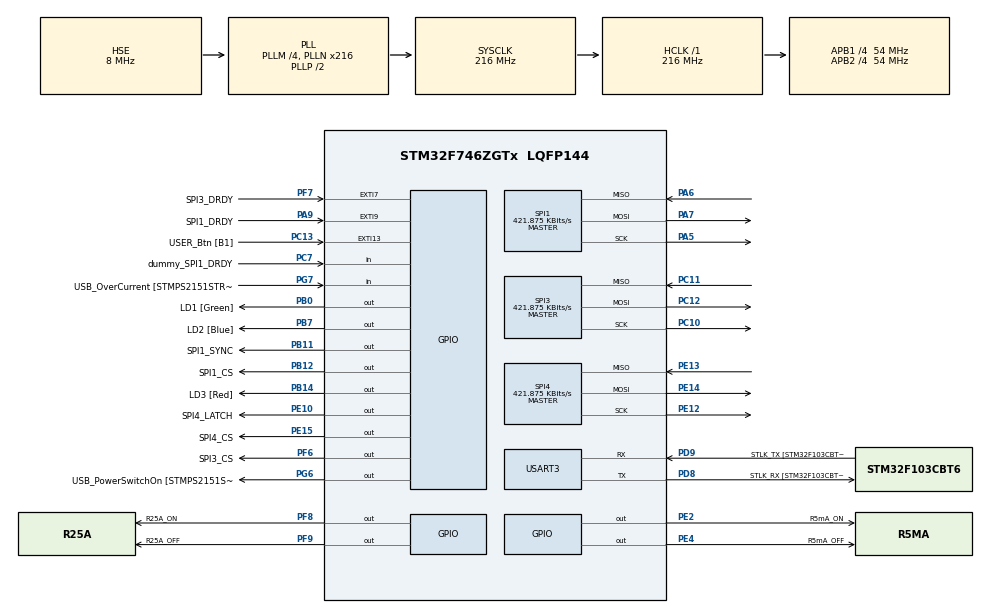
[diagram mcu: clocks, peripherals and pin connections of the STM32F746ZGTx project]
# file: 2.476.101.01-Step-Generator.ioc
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Dma.Request0=SPI1_RX
Dma.Request1=SPI1_TX
Dma.Request2=SPI3_RX
Dma.Request3=SPI3_TX
Dma.Request4=SPI4_TX
Dma.SPI1_RX.0.Direction=DMA_PERIPH_TO_MEMORY
Dma.SPI1_RX.0.FIFOMode=DMA_FIFOMODE_ENABLE
Dma.SPI1_RX.0.FIFOThreshold=DMA_FIFO_THRESHOLD_FULL
Dma.SPI1_RX.0.Instance=DMA2_Stream2
Dma.SPI1_RX.0.MemBurst=DMA_MBURST_SINGLE
Dma.SPI1_RX.0.MemDataAlignment=DMA_MDATAALIGN_BYTE
Dma.SPI1_RX.0.MemInc=DMA_MINC_ENABLE
Dma.SPI1_RX.0.Mode=DMA_NORMAL
Dma.SPI1_RX.0.PeriphBurst=DMA_PBURST_SINGLE
Dma.SPI1_RX.0.PeriphDataAlignment=DMA_PDATAALIGN_BYTE
Dma.SPI1_RX.0.PeriphInc=DMA_PINC_DISABLE
Dma.SPI1_RX.0.Priority=DMA_PRIORITY_VERY_HIGH
Dma.SPI1_TX.1.Direction=DMA_MEMORY_TO_PERIPH
Dma.SPI1_TX.1.FIFOMode=DMA_FIFOMODE_ENABLE
Dma.SPI1_TX.1.FIFOThreshold=DMA_FIFO_THRESHOLD_FULL
Dma.SPI1_TX.1.Instance=DMA2_Stream5
Dma.SPI1_TX.1.MemBurst=DMA_MBURST_SINGLE
Dma.SPI1_TX.1.MemDataAlignment=DMA_MDATAALIGN_BYTE
Dma.SPI1_TX.1.MemInc=DMA_MINC_ENABLE
Dma.SPI1_TX.1.Mode=DMA_NORMAL
Dma.SPI1_TX.1.PeriphBurst=DMA_PBURST_SINGLE
Dma.SPI1_TX.1.PeriphDataAlignment=DMA_PDATAALIGN_BYTE
Dma.SPI1_TX.1.PeriphInc=DMA_PINC_DISABLE
Dma.SPI1_TX.1.Priority=DMA_PRIORITY_VERY_HIGH
Dma.SPI3_RX.2.Direction=DMA_PERIPH_TO_MEMORY
Dma.SPI3_RX.2.FIFOMode=DMA_FIFOMODE_ENABLE
Dma.SPI3_RX.2.FIFOThreshold=DMA_FIFO_THRESHOLD_FULL
Dma.SPI3_RX.2.Instance=DMA1_Stream0
Dma.SPI3_RX.2.MemBurst=DMA_MBURST_SINGLE
Dma.SPI3_RX.2.MemDataAlignment=DMA_MDATAALIGN_BYTE
Dma.SPI3_RX.2.MemInc=DMA_MINC_ENABLE
Dma.SPI3_RX.2.Mode=DMA_NORMAL
Dma.SPI3_RX.2.PeriphBurst=DMA_PBURST_SINGLE
Dma.SPI3_RX.2.PeriphDataAlignment=DMA_PDATAALIGN_BYTE
Dma.SPI3_RX.2.PeriphInc=DMA_PINC_DISABLE
Dma.SPI3_RX.2.Priority=DMA_PRIORITY_VERY_HIGH
Dma.SPI3_TX.3.Direction=DMA_MEMORY_TO_PERIPH
Dma.SPI3_TX.3.FIFOMode=DMA_FIFOMODE_ENABLE
Dma.SPI3_TX.3.FIFOThreshold=DMA_FIFO_THRESHOLD_FULL
Dma.SPI3_TX.3.Instance=DMA1_Stream7
Dma.SPI3_TX.3.MemBurst=DMA_MBURST_SINGLE
Dma.SPI3_TX.3.MemDataAlignment=DMA_MDATAALIGN_BYTE
Dma.SPI3_TX.3.MemInc=DMA_MINC_ENABLE
Dma.SPI3_TX.3.Mode=DMA_NORMAL
Dma.SPI3_TX.3.PeriphBurst=DMA_PBURST_SINGLE
Dma.SPI3_TX.3.PeriphDataAlignment=DMA_PDATAALIGN_BYTE
Dma.SPI3_TX.3.PeriphInc=DMA_PINC_DISABLE
Dma.SPI3_TX.3.Priority=DMA_PRIORITY_VERY_HIGH
Dma.SPI4_TX.4.Direction=DMA_MEMORY_TO_PERIPH
Dma.SPI4_TX.4.FIFOMode=DMA_FIFOMODE_ENABLE
Dma.SPI4_TX.4.FIFOThreshold=DMA_FIFO_THRESHOLD_FULL
Dma.SPI4_TX.4.Instance=DMA2_Stream1
Dma.SPI4_TX.4.MemBurst=DMA_MBURST_SINGLE
Dma.SPI4_TX.4.MemDataAlignment=DMA_MDATAALIGN_BYTE
Dma.SPI4_TX.4.MemInc=DMA_MINC_ENABLE
Dma.SPI4_TX.4.Mode=DMA_NORMAL
Dma.SPI4_TX.4.PeriphBurst=DMA_PBURST_SINGLE
Dma.SPI4_TX.4.PeriphDataAlignment=DMA_PDATAALIGN_BYTE
Dma.SPI4_TX.4.PeriphInc=DMA_PINC_DISABLE
Dma.SPI4_TX.4.Priority=DMA_PRIORITY_VERY_HIGH
Mcu.Family=STM32F7
Mcu.Name=STM32F746ZGTx
Mcu.Package=LQFP144
NVIC.DMA1_Stream0_IRQn=true\:2\:0\:true\:false\:true\:false\:true
NVIC.DMA1_Stream7_IRQn=true\:2\:0\:true\:false\:true\:false\:true
NVIC.DMA2_Stream1_IRQn=true\:2\:0\:true\:false\:true\:false\:true
NVIC.DMA2_Stream2_IRQn=true\:2\:0\:true\:false\:true\:false\:true
NVIC.DMA2_Stream5_IRQn=true\:2\:0\:true\:false\:true\:false\:true
NVIC.EXTI15_10_IRQn=true\:2\:0\:true\:false\:true\:true\:true
NVIC.EXTI9_5_IRQn=true\:2\:0\:true\:false\:true\:true\:true
NVIC.PriorityGroup=NVIC_PRIORITYGROUP_4
NVIC.SPI1_IRQn=true\:2\:0\:true\:false\:true\:true\:true
NVIC.SPI3_IRQn=true\:1\:0\:true\:false\:true\:true\:true
NVIC.SPI4_IRQn=true\:2\:0\:true\:false\:true\:true\:true
NVIC.TIM4_IRQn=true\:7\:0\:true\:false\:true\:true\:true
NVIC.TIM5_IRQn=true\:7\:0\:true\:false\:true\:true\:true
NVIC.USART3_IRQn=true\:1\:0\:true\:false\:true\:true\:true
PA13.GPIO_Label=TMS
PA13.Mode=Serial_Wire
PA13.Signal=SYS_JTMS-SWDIO
PA14.GPIO_Label=TCK
PA14.Mode=Serial_Wire
PA14.Signal=SYS_JTCK-SWCLK
PA5.Mode=Full_Duplex_Master
PA5.Signal=SPI1_SCK
PA6.Mode=Full_Duplex_Master
PA6.Signal=SPI1_MISO
PA7.Mode=Full_Duplex_Master
PA7.Signal=SPI1_MOSI
PA9.GPIO_Label=SPI1_DRDY
PA9.GPIO_ModeDefaultEXTI=GPIO_MODE_IT_FALLING
PA9.Signal=GPXTI9
PB0.GPIO_Label=LD1 [Green]
PB0.Signal=GPIO_Output
PB11.GPIO_Label=SPI1_SYNC
PB11.Signal=GPIO_Output
PB12.GPIO_Label=SPI1_CS
PB12.Signal=GPIO_Output
PB14.GPIO_Label=LD3 [Red]
PB14.Signal=GPIO_Output
PB3.GPIO_Label=SW0
PB3.Signal=SYS_JTDO-SWO
PB7.GPIO_Label=LD2 [Blue]
PB7.Signal=GPIO_Output
PC10.Mode=Full_Duplex_Master
PC10.Signal=SPI3_SCK
PC11.Mode=Full_Duplex_Master
PC11.Signal=SPI3_MISO
PC12.Mode=Full_Duplex_Master
PC12.Signal=SPI3_MOSI
PC13.GPIO_Label=USER_Btn [B1]
PC13.Signal=GPXTI13
PC14/OSC32_IN.Mode=LSE-External-Oscillator
PC14/OSC32_IN.Signal=RCC_OSC32_IN
PC15/OSC32_OUT.Mode=LSE-External-Oscillator
PC15/OSC32_OUT.Signal=RCC_OSC32_OUT
PC7.GPIO_Label=dummy_SPI1_DRDY
PC7.Signal=GPIO_Input
PD8.GPIO_Label=STLK_RX [STM32F103CBT6_PA3]
PD8.Mode=Asynchronous
PD8.Signal=USART3_TX
PD9.GPIO_Label=STLK_TX [STM32F103CBT6_PA2]
PD9.Mode=Asynchronous
PD9.Signal=USART3_RX
PE10.GPIO_Label=SPI4_LATCH
PE10.Signal=GPIO_Output
PE12.Mode=Full_Duplex_Master
PE12.Signal=SPI4_SCK
PE13.Mode=Full_Duplex_Master
PE13.Signal=SPI4_MISO
PE14.Mode=Full_Duplex_Master
PE14.Signal=SPI4_MOSI
PE15.GPIO_Label=SPI4_CS
PE15.Signal=GPIO_Output
PE2.GPIO_Label=R5mA_ON
PE2.Signal=GPIO_Output
PE4.GPIO_Label=R5mA_OFF
PE4.Signal=GPIO_Output
PF6.GPIO_Label=SPI3_CS
PF6.Signal=GPIO_Output
PF7.GPIO_Label=SPI3_DRDY
PF7.GPIO_ModeDefaultEXTI=GPIO_MODE_IT_FALLING
PF7.Signal=GPXTI7
PF8.GPIO_Label=R25A_ON
PF8.Signal=GPIO_Output
PF9.GPIO_Label=R25A_OFF
PF9.Signal=GPIO_Output
PG6.GPIO_Label=USB_PowerSwitchOn [STMPS2151STR_EN]
PG6.Signal=GPIO_Output
PG7.GPIO_Label=USB_OverCurrent [STMPS2151STR_FAULT]
PG7.Signal=GPIO_Input
PH0/OSC_IN.GPIO_Label=MCO [STM32F103CBT6_PA8]
PH0/OSC_IN.Mode=HSE-External-Clock-Source
PH0/OSC_IN.Signal=RCC_OSC_IN
PH1/OSC_OUT.Mode=HSE-External-Clock-Source
PH1/OSC_OUT.Signal=RCC_OSC_OUT
ProjectManager.HeapSize=0x200
ProjectManager.StackSize=0x400
ProjectManager.TargetToolchain=SW4STM32
RCC.48MHZClocksFreq_Value=24000000
RCC.AHBFreq_Value=216000000
RCC.APB1CLKDivider=RCC_HCLK_DIV4
RCC.APB1Freq_Value=54000000
RCC.APB1TimFreq_Value=108000000
RCC.APB2CLKDivider=RCC_HCLK_DIV4
RCC.APB2Freq_Value=54000000
RCC.APB2TimFreq_Value=108000000
RCC.CortexFreq_Value=216000000
RCC.HCLKFreq_Value=216000000
RCC.HSE_VALUE=8000000
RCC.HSI_VALUE=16000000
RCC.PLLM=4
RCC.PLLMUL=RCC_PLL_MUL9
RCC.PLLN=216
RCC.PLLQ=3
RCC.PLLSourceVirtual=RCC_PLLSOURCE_HSE
RCC.PRESCALERUSB=RCC_USBCLKSOURCE_PLL_DIV1_5
RCC.SYSCLKFreq_VALUE=216000000
RCC.SYSCLKSource=RCC_SYSCLKSOURCE_PLLCLK
RCC.SYSCLKSourceVirtual=RCC_SYSCLKSOURCE_PLLCLK
RCC.USBFreq_Value=144000000
RCC.VCOOutputFreq_Value=432000000
SPI1.BaudRatePrescaler=SPI_BAUDRATEPRESCALER_128
SPI1.CLKPhase=SPI_PHASE_2EDGE
SPI1.CalculateBaudRate=421.875 KBits/s
SPI1.DataSize=SPI_DATASIZE_8BIT
SPI1.Direction=SPI_DIRECTION_2LINES
SPI1.Mode=SPI_MODE_MASTER
SPI1.VirtualType=VM_MASTER
SPI3.BaudRatePrescaler=SPI_BAUDRATEPRESCALER_128
SPI3.CLKPhase=SPI_PHASE_2EDGE
SPI3.CalculateBaudRate=421.875 KBits/s
SPI3.DataSize=SPI_DATASIZE_8BIT
SPI3.Direction=SPI_DIRECTION_2LINES
SPI3.Mode=SPI_MODE_MASTER
SPI3.VirtualType=VM_MASTER
SPI4.BaudRatePrescaler=SPI_BAUDRATEPRESCALER_128
SPI4.CalculateBaudRate=421.875 KBits/s
SPI4.DataSize=SPI_DATASIZE_8BIT
SPI4.Direction=SPI_DIRECTION_2LINES
SPI4.Mode=SPI_MODE_MASTER
SPI4.VirtualType=VM_MASTER
TIM4.Period=1000-1
TIM4.Prescaler=54000-1
TIM5.Period=1000-1
TIM5.Prescaler=5400-1
USART3.VirtualMode-Asynchronous=VM_ASYNC
VP_TIM4_VS_ClockSourceINT.Mode=Internal
VP_TIM5_VS_ClockSourceINT.Mode=Internal
board=NUCLEO-F746ZG

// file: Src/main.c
/* USER CODE BEGIN Header */
/**
 ******************************************************************************
 * @file           : main.c
 * @brief          : Main program body
 ******************************************************************************
 * @attention
 *
 * <h2><center>&copy; Copyright (c) 2020 STMicroelectronics.
 * All rights reserved.</center></h2>
 *
 * This software component is licensed by ST under BSD 3-Clause license,
 * the "License"; You may not use this file except in compliance with the
 * License. You may obtain a copy of the License at:
 *                        opensource.org/licenses/BSD-3-Clause
 *
 ******************************************************************************
 */
/* USER CODE END Header */

#include "main.h"

/* USER CODE BEGIN Includes */
//#include <arm_math.h>           // floating point math (sinf ...)
#include <stdio.h>              // printf
#include "max5717.h"            // DAC
#include "ads1255.h"            // ADC
#include "2.476.101.01.BSP.h"   // Baord Support Package
#include "scpi/scpi.h"          // SCPI Library
#include "scpi-def.h"           // SCPI User Code
/* USER CODE END Includes */

/* USER CODE BEGIN PD */
#define DMA_BUFFER_SIZE 64

/* USER CODE END PD */

SPI_HandleTypeDef hspi1;
SPI_HandleTypeDef hspi3;
SPI_HandleTypeDef hspi4;
DMA_HandleTypeDef hdma_spi1_rx;
DMA_HandleTypeDef hdma_spi1_tx;
DMA_HandleTypeDef hdma_spi3_rx;
DMA_HandleTypeDef hdma_spi3_tx;
DMA_HandleTypeDef hdma_spi4_tx;

TIM_HandleTypeDef htim4;
TIM_HandleTypeDef htim5;

UART_HandleTypeDef huart3;

/* USER CODE BEGIN PV */
MAX5717_t dac1;
ADS125X_t adcv;
ADS125X_t adci;

volatile uint8_t dmaDacTx[3 * DMA_BUFFER_SIZE];
const uint16_t dmaBufferSize = DMA_BUFFER_SIZE;
volatile uint16_t dmaPtr;

extern scpi_t scpi_context;
volatile CurveTracer_State_t deviceState;

volatile uint8_t is_config_done;

/* USER CODE END PV */

void SystemClock_Config(void);
static void MX_GPIO_Init(void);
static void MX_DMA_Init(void);
static void MX_USART3_UART_Init(void);
static void MX_SPI1_Init(void);
static void MX_SPI3_Init(void);
static void MX_SPI4_Init(void);
static void MX_TIM4_Init(void);
static void MX_TIM5_Init(void);
/* USER CODE BEGIN PFP */

/**
 *  @see https://github.com/STMicroelectronics/STM32CubeF4/blob/master/Projects/STM32F401RE-Nucleo/Examples/UART/UART_Printf/Src/main.c
 */
#ifdef __GNUC__
/* With GCC, small printf (option LD Linker->Libraries->Small printf
 set to 'Yes') calls __io_putchar() */
#define PUTCHAR_PROTOTYPE int __io_putchar(int ch)
#else
#define PUTCHAR_PROTOTYPE int fputc(int ch, FILE *f)
#endif /* __GNUC__ */
/* USER CODE END PFP */

/* USER CODE BEGIN 0 */
size_t SCPI_Write(scpi_t * context, const char * data, size_t len) {
	(void) context;
	return fwrite(data, 1, len, stdout);
}

int SCPI_Error(scpi_t * context, int_fast16_t err) {
	return 0;
}

scpi_result_t SCPI_Control(scpi_t * context, scpi_ctrl_name_t ctrl,
		scpi_reg_val_t val) {
	(void) context;
	return SCPI_RES_OK;
}

scpi_result_t SCPI_Reset(scpi_t * context) {
	// reset ADCs etc.
	return SCPI_RES_OK;
}

scpi_result_t SCPI_Flush(scpi_t * context) {
	(void) context;
	return SCPI_RES_OK;
}
/* USER CODE END 0 */

int main(void)
{
  /* USER CODE BEGIN 1 */
	is_config_done = 0;

  /* USER CODE END 1 */

  /* MCU Configuration--------------------------------------------------------*/

  /* Reset of all peripherals, Initializes the Flash interface and the Systick. */
  HAL_Init();

  /* Configure the system clock */
  SystemClock_Config();

  /* Initialize all configured peripherals */
  MX_GPIO_Init();
  MX_DMA_Init();
  MX_USART3_UART_Init();
  MX_SPI1_Init();
  MX_SPI3_Init();
  MX_SPI4_Init();
  MX_TIM4_Init();
  MX_TIM5_Init();
  /* USER CODE BEGIN 2 */
	ETA_CTGS_OutputOff((CurveTracer_State_t*)&deviceState);
	// initialize SCPI Library
	SCPI_Init(&scpi_context, scpi_commands, &scpi_interface, scpi_units_def,
	SCPI_IDN1, SCPI_IDN2, SCPI_IDN3, SCPI_IDN4, (char*) &scpi_input_buffer,
	SCPI_INPUT_BUFFER_LENGTH, scpi_error_queue_data,
	SCPI_ERROR_QUEUE_SIZE);

	ETA_CTGS_InitDAC();
	ETA_CTGS_InitADC();
	ETA_CTGS_Init((CurveTracer_State_t*) &deviceState);

	ETA_CTGS_CurrentRangeSet((CurveTracer_State_t*) &deviceState, RANGE_5mA);

	printf("2.476.101.01 Step Generator for Curve Tracer\n");
	printf("(c)2020 - eta systems GmbH\n");

	HAL_Delay(10);
	ADS125X_CS(&adci, 1);  // chip select always enabled for DMA Transfer
	is_config_done = 1;    // signal setup complete to ISRs

	__HAL_UART_ENABLE_IT(&huart3, UART_IT_RXNE); // enable UART Rx Interrupt for SCPI interface

  /* USER CODE END 2 */

  /* Infinite loop */
	while (1) {

    /* USER CODE BEGIN 3 */
		//HAL_GPIO_TogglePin(LD1_GPIO_Port, LD1_Pin);
		HAL_Delay(250);

	}
  /* USER CODE END 3 */
}

void SystemClock_Config(void)
{
  RCC_OscInitTypeDef RCC_OscInitStruct = {0};
  RCC_ClkInitTypeDef RCC_ClkInitStruct = {0};
  RCC_PeriphCLKInitTypeDef PeriphClkInitStruct = {0};

  /** Configure LSE Drive Capability
  */
  HAL_PWR_EnableBkUpAccess();
  /** Configure the main internal regulator output voltage
  */
  __HAL_RCC_PWR_CLK_ENABLE();
  __HAL_PWR_VOLTAGESCALING_CONFIG(PWR_REGULATOR_VOLTAGE_SCALE1);
  /** Initializes the CPU, AHB and APB busses clocks
  */
  RCC_OscInitStruct.OscillatorType = RCC_OSCILLATORTYPE_HSE;
  RCC_OscInitStruct.HSEState = RCC_HSE_BYPASS;
  RCC_OscInitStruct.PLL.PLLState = RCC_PLL_ON;
  RCC_OscInitStruct.PLL.PLLSource = RCC_PLLSOURCE_HSE;
  RCC_OscInitStruct.PLL.PLLM = 4;
  RCC_OscInitStruct.PLL.PLLN = 216;
  RCC_OscInitStruct.PLL.PLLP = RCC_PLLP_DIV2;
  RCC_OscInitStruct.PLL.PLLQ = 3;
  if (HAL_RCC_OscConfig(&RCC_OscInitStruct) != HAL_OK)
  {
    Error_Handler();
  }
  /** Activate the Over-Drive mode
  */
  if (HAL_PWREx_EnableOverDrive() != HAL_OK)
  {
    Error_Handler();
  }
  /** Initializes the CPU, AHB and APB busses clocks
  */
  RCC_ClkInitStruct.ClockType = RCC_CLOCKTYPE_HCLK|RCC_CLOCKTYPE_SYSCLK
                              |RCC_CLOCKTYPE_PCLK1|RCC_CLOCKTYPE_PCLK2;
  RCC_ClkInitStruct.SYSCLKSource = RCC_SYSCLKSOURCE_PLLCLK;
  RCC_ClkInitStruct.AHBCLKDivider = RCC_SYSCLK_DIV1;
  RCC_ClkInitStruct.APB1CLKDivider = RCC_HCLK_DIV4;
  RCC_ClkInitStruct.APB2CLKDivider = RCC_HCLK_DIV4;

  if (HAL_RCC_ClockConfig(&RCC_ClkInitStruct, FLASH_LATENCY_7) != HAL_OK)
  {
    Error_Handler();
  }
  PeriphClkInitStruct.PeriphClockSelection = RCC_PERIPHCLK_USART3;
  PeriphClkInitStruct.Usart3ClockSelection = RCC_USART3CLKSOURCE_PCLK1;
  if (HAL_RCCEx_PeriphCLKConfig(&PeriphClkInitStruct) != HAL_OK)
  {
    Error_Handler();
  }
}

static void MX_SPI1_Init(void)
{

  /* SPI1 parameter configuration*/
  hspi1.Instance = SPI1;
  hspi1.Init.Mode = SPI_MODE_MASTER;
  hspi1.Init.Direction = SPI_DIRECTION_2LINES;
  hspi1.Init.DataSize = SPI_DATASIZE_8BIT;
  hspi1.Init.CLKPolarity = SPI_POLARITY_LOW;
  hspi1.Init.CLKPhase = SPI_PHASE_2EDGE;
  hspi1.Init.NSS = SPI_NSS_SOFT;
  hspi1.Init.BaudRatePrescaler = SPI_BAUDRATEPRESCALER_128;
  hspi1.Init.FirstBit = SPI_FIRSTBIT_MSB;
  hspi1.Init.TIMode = SPI_TIMODE_DISABLE;
  hspi1.Init.CRCCalculation = SPI_CRCCALCULATION_DISABLE;
  hspi1.Init.CRCPolynomial = 7;
  hspi1.Init.CRCLength = SPI_CRC_LENGTH_DATASIZE;
  hspi1.Init.NSSPMode = SPI_NSS_PULSE_DISABLE;
  if (HAL_SPI_Init(&hspi1) != HAL_OK)
  {
    Error_Handler();
  }

}

static void MX_SPI3_Init(void)
{

  /* SPI3 parameter configuration*/
  hspi3.Instance = SPI3;
  hspi3.Init.Mode = SPI_MODE_MASTER;
  hspi3.Init.Direction = SPI_DIRECTION_2LINES;
  hspi3.Init.DataSize = SPI_DATASIZE_8BIT;
  hspi3.Init.CLKPolarity = SPI_POLARITY_LOW;
  hspi3.Init.CLKPhase = SPI_PHASE_2EDGE;
  hspi3.Init.NSS = SPI_NSS_SOFT;
  hspi3.Init.BaudRatePrescaler = SPI_BAUDRATEPRESCALER_128;
  hspi3.Init.FirstBit = SPI_FIRSTBIT_MSB;
  hspi3.Init.TIMode = SPI_TIMODE_DISABLE;
  hspi3.Init.CRCCalculation = SPI_CRCCALCULATION_DISABLE;
  hspi3.Init.CRCPolynomial = 7;
  hspi3.Init.CRCLength = SPI_CRC_LENGTH_DATASIZE;
  hspi3.Init.NSSPMode = SPI_NSS_PULSE_DISABLE;
  if (HAL_SPI_Init(&hspi3) != HAL_OK)
  {
    Error_Handler();
  }

}

static void MX_SPI4_Init(void)
{

  /* SPI4 parameter configuration*/
  hspi4.Instance = SPI4;
  hspi4.Init.Mode = SPI_MODE_MASTER;
  hspi4.Init.Direction = SPI_DIRECTION_2LINES;
  hspi4.Init.DataSize = SPI_DATASIZE_8BIT;
  hspi4.Init.CLKPolarity = SPI_POLARITY_LOW;
  hspi4.Init.CLKPhase = SPI_PHASE_1EDGE;
  hspi4.Init.NSS = SPI_NSS_SOFT;
  hspi4.Init.BaudRatePrescaler = SPI_BAUDRATEPRESCALER_128;
  hspi4.Init.FirstBit = SPI_FIRSTBIT_MSB;
  hspi4.Init.TIMode = SPI_TIMODE_DISABLE;
  hspi4.Init.CRCCalculation = SPI_CRCCALCULATION_DISABLE;
  hspi4.Init.CRCPolynomial = 7;
  hspi4.Init.CRCLength = SPI_CRC_LENGTH_DATASIZE;
  hspi4.Init.NSSPMode = SPI_NSS_PULSE_ENABLE;
  if (HAL_SPI_Init(&hspi4) != HAL_OK)
  {
    Error_Handler();
  }

}

static void MX_TIM4_Init(void)
{

  TIM_ClockConfigTypeDef sClockSourceConfig = {0};
  TIM_MasterConfigTypeDef sMasterConfig = {0};

  htim4.Instance = TIM4;
  htim4.Init.Prescaler = 54000-1;
  htim4.Init.CounterMode = TIM_COUNTERMODE_UP;
  htim4.Init.Period = 1000-1;
  htim4.Init.ClockDivision = TIM_CLOCKDIVISION_DIV1;
  htim4.Init.AutoReloadPreload = TIM_AUTORELOAD_PRELOAD_DISABLE;
  if (HAL_TIM_Base_Init(&htim4) != HAL_OK)
  {
    Error_Handler();
  }
  sClockSourceConfig.ClockSource = TIM_CLOCKSOURCE_INTERNAL;
  if (HAL_TIM_ConfigClockSource(&htim4, &sClockSourceConfig) != HAL_OK)
  {
    Error_Handler();
  }
  sMasterConfig.MasterOutputTrigger = TIM_TRGO_RESET;
  sMasterConfig.MasterSlaveMode = TIM_MASTERSLAVEMODE_DISABLE;
  if (HAL_TIMEx_MasterConfigSynchronization(&htim4, &sMasterConfig) != HAL_OK)
  {
    Error_Handler();
  }

}

static void MX_TIM5_Init(void)
{

  TIM_ClockConfigTypeDef sClockSourceConfig = {0};
  TIM_MasterConfigTypeDef sMasterConfig = {0};

  htim5.Instance = TIM5;
  htim5.Init.Prescaler = 5400-1;
  htim5.Init.CounterMode = TIM_COUNTERMODE_UP;
  htim5.Init.Period = 1000-1;
  htim5.Init.ClockDivision = TIM_CLOCKDIVISION_DIV1;
  htim5.Init.AutoReloadPreload = TIM_AUTORELOAD_PRELOAD_DISABLE;
  if (HAL_TIM_Base_Init(&htim5) != HAL_OK)
  {
    Error_Handler();
  }
  sClockSourceConfig.ClockSource = TIM_CLOCKSOURCE_INTERNAL;
  if (HAL_TIM_ConfigClockSource(&htim5, &sClockSourceConfig) != HAL_OK)
  {
    Error_Handler();
  }
  sMasterConfig.MasterOutputTrigger = TIM_TRGO_RESET;
  sMasterConfig.MasterSlaveMode = TIM_MASTERSLAVEMODE_DISABLE;
  if (HAL_TIMEx_MasterConfigSynchronization(&htim5, &sMasterConfig) != HAL_OK)
  {
    Error_Handler();
  }

}

static void MX_USART3_UART_Init(void)
{

  huart3.Instance = USART3;
  huart3.Init.BaudRate = 115200;
  huart3.Init.WordLength = UART_WORDLENGTH_8B;
  huart3.Init.StopBits = UART_STOPBITS_1;
  huart3.Init.Parity = UART_PARITY_NONE;
  huart3.Init.Mode = UART_MODE_TX_RX;
  huart3.Init.HwFlowCtl = UART_HWCONTROL_NONE;
  huart3.Init.OverSampling = UART_OVERSAMPLING_16;
  huart3.Init.OneBitSampling = UART_ONE_BIT_SAMPLE_DISABLE;
  huart3.AdvancedInit.AdvFeatureInit = UART_ADVFEATURE_NO_INIT;
  if (HAL_UART_Init(&huart3) != HAL_OK)
  {
    Error_Handler();
  }

}

static void MX_DMA_Init(void)
{

  /* DMA controller clock enable */
  __HAL_RCC_DMA2_CLK_ENABLE();
  __HAL_RCC_DMA1_CLK_ENABLE();

  /* DMA interrupt init */
  /* DMA1_Stream0_IRQn interrupt configuration */
  HAL_NVIC_SetPriority(DMA1_Stream0_IRQn, 2, 0);
  HAL_NVIC_EnableIRQ(DMA1_Stream0_IRQn);
  /* DMA1_Stream7_IRQn interrupt configuration */
  HAL_NVIC_SetPriority(DMA1_Stream7_IRQn, 2, 0);
  HAL_NVIC_EnableIRQ(DMA1_Stream7_IRQn);
  /* DMA2_Stream1_IRQn interrupt configuration */
  HAL_NVIC_SetPriority(DMA2_Stream1_IRQn, 2, 0);
  HAL_NVIC_EnableIRQ(DMA2_Stream1_IRQn);
  /* DMA2_Stream2_IRQn interrupt configuration */
  HAL_NVIC_SetPriority(DMA2_Stream2_IRQn, 2, 0);
  HAL_NVIC_EnableIRQ(DMA2_Stream2_IRQn);
  /* DMA2_Stream5_IRQn interrupt configuration */
  HAL_NVIC_SetPriority(DMA2_Stream5_IRQn, 2, 0);
  HAL_NVIC_EnableIRQ(DMA2_Stream5_IRQn);

}

static void MX_GPIO_Init(void)
{
  GPIO_InitTypeDef GPIO_InitStruct = {0};

  /* GPIO Ports Clock Enable */
  __HAL_RCC_GPIOE_CLK_ENABLE();
  __HAL_RCC_GPIOC_CLK_ENABLE();
  __HAL_RCC_GPIOF_CLK_ENABLE();
  __HAL_RCC_GPIOH_CLK_ENABLE();
  __HAL_RCC_GPIOA_CLK_ENABLE();
  __HAL_RCC_GPIOB_CLK_ENABLE();
  __HAL_RCC_GPIOD_CLK_ENABLE();
  __HAL_RCC_GPIOG_CLK_ENABLE();

  /*Configure GPIO pin Output Level */
  HAL_GPIO_WritePin(GPIOE, R5mA_ON_Pin|R5mA_OFF_Pin|SPI4_LATCH_Pin|SPI4_CS_Pin, GPIO_PIN_RESET);

  /*Configure GPIO pin Output Level */
  HAL_GPIO_WritePin(GPIOF, SPI3_CS_Pin|R25A_ON_Pin|R25A_OFF_Pin, GPIO_PIN_RESET);

  /*Configure GPIO pin Output Level */
  HAL_GPIO_WritePin(GPIOB, LD1_Pin|SPI1_SYNC_Pin|SPI1_CS_Pin|LD3_Pin
                          |LD2_Pin, GPIO_PIN_RESET);

  /*Configure GPIO pin Output Level */
  HAL_GPIO_WritePin(USB_PowerSwitchOn_GPIO_Port, USB_PowerSwitchOn_Pin, GPIO_PIN_RESET);

  /*Configure GPIO pins : R5mA_ON_Pin R5mA_OFF_Pin SPI4_LATCH_Pin SPI4_CS_Pin */
  GPIO_InitStruct.Pin = R5mA_ON_Pin|R5mA_OFF_Pin|SPI4_LATCH_Pin|SPI4_CS_Pin;
  GPIO_InitStruct.Mode = GPIO_MODE_OUTPUT_PP;
  GPIO_InitStruct.Pull = GPIO_NOPULL;
  GPIO_InitStruct.Speed = GPIO_SPEED_FREQ_LOW;
  HAL_GPIO_Init(GPIOE, &GPIO_InitStruct);

  /*Configure GPIO pin : USER_Btn_Pin */
  GPIO_InitStruct.Pin = USER_Btn_Pin;
  GPIO_InitStruct.Mode = GPIO_MODE_IT_RISING;
  GPIO_InitStruct.Pull = GPIO_NOPULL;
  HAL_GPIO_Init(USER_Btn_GPIO_Port, &GPIO_InitStruct);

  /*Configure GPIO pins : SPI3_CS_Pin R25A_ON_Pin R25A_OFF_Pin */
  GPIO_InitStruct.Pin = SPI3_CS_Pin|R25A_ON_Pin|R25A_OFF_Pin;
  GPIO_InitStruct.Mode = GPIO_MODE_OUTPUT_PP;
  GPIO_InitStruct.Pull = GPIO_NOPULL;
  GPIO_InitStruct.Speed = GPIO_SPEED_FREQ_LOW;
  HAL_GPIO_Init(GPIOF, &GPIO_InitStruct);

  /*Configure GPIO pin : SPI3_DRDY_Pin */
  GPIO_InitStruct.Pin = SPI3_DRDY_Pin;
  GPIO_InitStruct.Mode = GPIO_MODE_IT_FALLING;
  GPIO_InitStruct.Pull = GPIO_NOPULL;
  HAL_GPIO_Init(SPI3_DRDY_GPIO_Port, &GPIO_InitStruct);

  /*Configure GPIO pins : LD1_Pin SPI1_SYNC_Pin SPI1_CS_Pin LD3_Pin
                           LD2_Pin */
  GPIO_InitStruct.Pin = LD1_Pin|SPI1_SYNC_Pin|SPI1_CS_Pin|LD3_Pin
                          |LD2_Pin;
  GPIO_InitStruct.Mode = GPIO_MODE_OUTPUT_PP;
  GPIO_InitStruct.Pull = GPIO_NOPULL;
  GPIO_InitStruct.Speed = GPIO_SPEED_FREQ_LOW;
  HAL_GPIO_Init(GPIOB, &GPIO_InitStruct);

  /*Configure GPIO pin : USB_PowerSwitchOn_Pin */
  GPIO_InitStruct.Pin = USB_PowerSwitchOn_Pin;
  GPIO_InitStruct.Mode = GPIO_MODE_OUTPUT_PP;
  GPIO_InitStruct.Pull = GPIO_NOPULL;
  GPIO_InitStruct.Speed = GPIO_SPEED_FREQ_LOW;
  HAL_GPIO_Init(USB_PowerSwitchOn_GPIO_Port, &GPIO_InitStruct);

  /*Configure GPIO pin : USB_OverCurrent_Pin */
  GPIO_InitStruct.Pin = USB_OverCurrent_Pin;
  GPIO_InitStruct.Mode = GPIO_MODE_INPUT;
  GPIO_InitStruct.Pull = GPIO_NOPULL;
  HAL_GPIO_Init(USB_OverCurrent_GPIO_Port, &GPIO_InitStruct);

  /*Configure GPIO pin : dummy_SPI1_DRDY_Pin */
  GPIO_InitStruct.Pin = dummy_SPI1_DRDY_Pin;
  GPIO_InitStruct.Mode = GPIO_MODE_INPUT;
  GPIO_InitStruct.Pull = GPIO_NOPULL;
  HAL_GPIO_Init(dummy_SPI1_DRDY_GPIO_Port, &GPIO_InitStruct);

  /*Configure GPIO pin : SPI1_DRDY_Pin */
  GPIO_InitStruct.Pin = SPI1_DRDY_Pin;
  GPIO_InitStruct.Mode = GPIO_MODE_IT_FALLING;
  GPIO_InitStruct.Pull = GPIO_NOPULL;
  HAL_GPIO_Init(SPI1_DRDY_GPIO_Port, &GPIO_InitStruct);

  /* EXTI interrupt init*/
  HAL_NVIC_SetPriority(EXTI9_5_IRQn, 2, 0);
  HAL_NVIC_EnableIRQ(EXTI9_5_IRQn);

  HAL_NVIC_SetPriority(EXTI15_10_IRQn, 2, 0);
  HAL_NVIC_EnableIRQ(EXTI15_10_IRQn);

}

/* USER CODE BEGIN 4 */
/**
 * @brief  Retargets the C library printf function to the USART.
 * @param  None
 * @retval None
 * @see    https://github.com/STMicroelectronics/STM32CubeF4/blob/master/Projects/STM32F401RE-Nucleo/Examples/UART/UART_Printf/Src/main.c
 */
PUTCHAR_PROTOTYPE {
	/* Place your implementation of fputc here */
	/* e.g. write a character to the EVAL_COM1 and Loop until the end of transmission */
	HAL_UART_Transmit(&huart3, (uint8_t *) &ch, 1, 1);

	return ch;
}
/* USER CODE END 4 */

void Error_Handler(void)
{
}

/************************ (C) COPYRIGHT STMicroelectronics *****END OF FILE****/
